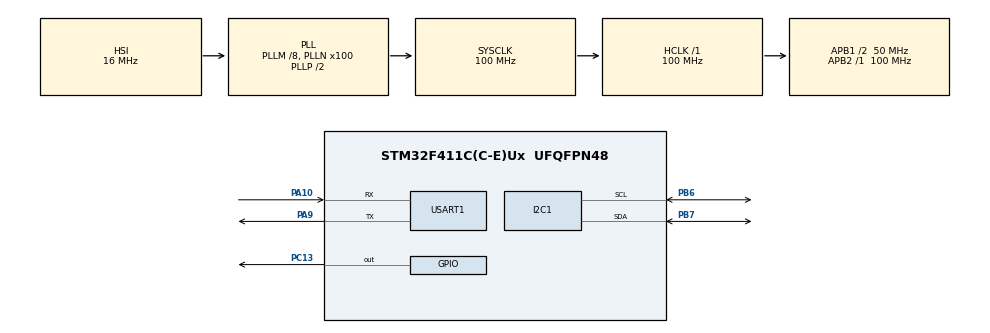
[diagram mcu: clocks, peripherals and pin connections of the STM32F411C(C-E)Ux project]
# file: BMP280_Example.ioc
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I2C1.I2C_Mode=I2C_Standard
Mcu.Family=STM32F4
Mcu.Name=STM32F411C(C-E)Ux
Mcu.Package=UFQFPN48
NVIC.PriorityGroup=NVIC_PRIORITYGROUP_4
PA10.Mode=Asynchronous
PA10.Signal=USART1_RX
PA13.Mode=Serial_Wire
PA13.Signal=SYS_JTMS-SWDIO
PA14.Mode=Serial_Wire
PA14.Signal=SYS_JTCK-SWCLK
PA9.Mode=Asynchronous
PA9.Signal=USART1_TX
PB6.Mode=I2C
PB6.Signal=I2C1_SCL
PB7.Mode=I2C
PB7.Signal=I2C1_SDA
PC13-ANTI_TAMP.Signal=GPIO_Output
PH0\ -\ OSC_IN.Mode=HSE-External-Oscillator
PH0\ -\ OSC_IN.Signal=RCC_OSC_IN
PH1\ -\ OSC_OUT.Mode=HSE-External-Oscillator
PH1\ -\ OSC_OUT.Signal=RCC_OSC_OUT
ProjectManager.HeapSize=0x200
ProjectManager.StackSize=0x400
ProjectManager.TargetToolchain=STM32CubeIDE
RCC.48MHZClocksFreq_Value=50000000
RCC.AHBFreq_Value=100000000
RCC.APB1CLKDivider=RCC_HCLK_DIV2
RCC.APB1Freq_Value=50000000
RCC.APB1TimFreq_Value=100000000
RCC.APB2Freq_Value=100000000
RCC.APB2TimFreq_Value=100000000
RCC.CortexFreq_Value=100000000
RCC.HCLKFreq_Value=100000000
RCC.HSE_VALUE=25000000
RCC.HSI_VALUE=16000000
RCC.LSE_VALUE=32768
RCC.PLLM=8
RCC.PLLN=100
RCC.SYSCLKFreq_VALUE=100000000
RCC.SYSCLKSource=RCC_SYSCLKSOURCE_PLLCLK
RCC.VCOOutputFreq_Value=200000000
USART1.VirtualMode=VM_ASYNC
board=custom

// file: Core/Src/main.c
/* USER CODE BEGIN Header */
/**
  ******************************************************************************
  * @file           : main.c
  * @brief          : Main program body
  ******************************************************************************
  * @attention
  *
  * Copyright (c) 2026 STMicroelectronics.
  * All rights reserved.
  *
  * This software is licensed under terms that can be found in the LICENSE file
  * in the root directory of this software component.
  * If no LICENSE file comes with this software, it is provided AS-IS.
  *
  ******************************************************************************
  */
/* USER CODE END Header */
#include "main.h"

/* USER CODE BEGIN Includes */
#include "BMP280.h"
#include "ANSII_Codes.h"
#include <stdio.h>
#include <stdlib.h>
/* USER CODE END Includes */

/* USER CODE BEGIN PD */
/* -- Parámetros de la batería de pruebas -- */
#define BMP_MUESTRAS        10U        /**< Lecturas seguidas del test de muestras */
#define BMP_SENTINEL        (-1000.0f) /**< Fuera de rango en los tres campos: delata campos que Get no escribió */

/* Rango de funcionamiento del sensor (datasheet) */
#define BMP_TEMP_MIN        (-40.0f)
#define BMP_TEMP_MAX        (85.0f)
#define BMP_PRES_MIN        (300.0f)   /**< [hPa] */
#define BMP_PRES_MAX        (1100.0f)  /**< [hPa] */
/* Altitud que da la fórmula de la librería en ese rango de presión (-698 m .. 9164 m) */
#define BMP_ALT_MIN         (-750.0f)  /**< [m] */
#define BMP_ALT_MAX         (9200.0f)  /**< [m] */

/* Con la placa quieta, variación máxima entre muestras (filtro IIR x16 activo).
 * Ajustar si falla sin tocarla; soplarle o tocarla con el dedo debe hacerlo fallar */
#define BMP_PRES_RUIDO      0.5f       /**< [hPa] */
#define BMP_TEMP_RUIDO      0.5f       /**< [°C] */
/* USER CODE END PD */

/* USER CODE BEGIN PM */
#define BMP_CHECK(x)  do { if ((x) != BMP280_OK) { Error_Handler(); } } while (0)
/* Para los tests de error: la llamada debe devolver exactamente el estado esperado */
#define BMP_EXPECT(x, st)  do { if ((x) != (st)) { Error_Handler(); } } while (0)

/* USER CODE END PM */

I2C_HandleTypeDef hi2c1;

UART_HandleTypeDef huart1;

/* USER CODE BEGIN PV */
BMP280_Status_t status;
/* USER CODE END PV */

void SystemClock_Config(void);
static void MX_GPIO_Init(void);
static void MX_I2C1_Init(void);
static void MX_USART1_UART_Init(void);
/* USER CODE BEGIN PFP */
static void BMP280_Centinela(BMP280_Data_t* d);
static void BMP280_Leer(BMP280_Data_t* d);
static void BMP280_CheckSinTocar(const BMP280_Data_t* d);
static void BMP280_PrintVal(const char* nombre, float v, const char* unidad);
static void BMP280_Print(const BMP280_Data_t* d);
static void BMP280_TestSuite(void);
static void BMP280_TestPreInit(void);
static void BMP280_TestLectura(void);
static void BMP280_TestMuestras(void);
static void BMP280_TestErrores(void);
static void BMP280_TestReInit(void);
/* USER CODE END PFP */

int main(void)
{

  /* MCU Configuration--------------------------------------------------------*/

  /* Reset of all peripherals, Initializes the Flash interface and the Systick. */
  HAL_Init();

  /* Configure the system clock */
  SystemClock_Config();

  /* Initialize all configured peripherals */
  MX_GPIO_Init();
  MX_I2C1_Init();
  MX_USART1_UART_Init();
  /* USER CODE BEGIN 2 */
  printf(CLEAR_SCREEN CURSOR_HOME COLOR_BOLD COLOR_CYAN "BMP280 TEST" COLOR_RESET "\r\n");
  BMP280_TestPreInit();

  status = BMP280_Init(&hi2c1);
  if(status != BMP280_OK)
  {
	  Error_Handler();
  }
  else
  {
	  HAL_GPIO_WritePin(GPIOC, GPIO_PIN_13, GPIO_PIN_RESET);
  }
  /* USER CODE END 2 */

  /* Infinite loop */
  /* USER CODE BEGIN WHILE */
  while (1)
  {
	  BMP280_TestSuite();
    /* USER CODE END WHILE */

  }
}

void SystemClock_Config(void)
{
  RCC_OscInitTypeDef RCC_OscInitStruct = {0};
  RCC_ClkInitTypeDef RCC_ClkInitStruct = {0};

  /** Configure the main internal regulator output voltage
  */
  __HAL_RCC_PWR_CLK_ENABLE();
  __HAL_PWR_VOLTAGESCALING_CONFIG(PWR_REGULATOR_VOLTAGE_SCALE1);

  /** Initializes the RCC Oscillators according to the specified parameters
  * in the RCC_OscInitTypeDef structure.
  */
  RCC_OscInitStruct.OscillatorType = RCC_OSCILLATORTYPE_HSI;
  RCC_OscInitStruct.HSIState = RCC_HSI_ON;
  RCC_OscInitStruct.HSICalibrationValue = RCC_HSICALIBRATION_DEFAULT;
  RCC_OscInitStruct.PLL.PLLState = RCC_PLL_ON;
  RCC_OscInitStruct.PLL.PLLSource = RCC_PLLSOURCE_HSI;
  RCC_OscInitStruct.PLL.PLLM = 8;
  RCC_OscInitStruct.PLL.PLLN = 100;
  RCC_OscInitStruct.PLL.PLLP = RCC_PLLP_DIV2;
  RCC_OscInitStruct.PLL.PLLQ = 4;
  if (HAL_RCC_OscConfig(&RCC_OscInitStruct) != HAL_OK)
  {
    Error_Handler();
  }

  /** Initializes the CPU, AHB and APB buses clocks
  */
  RCC_ClkInitStruct.ClockType = RCC_CLOCKTYPE_HCLK|RCC_CLOCKTYPE_SYSCLK
                              |RCC_CLOCKTYPE_PCLK1|RCC_CLOCKTYPE_PCLK2;
  RCC_ClkInitStruct.SYSCLKSource = RCC_SYSCLKSOURCE_PLLCLK;
  RCC_ClkInitStruct.AHBCLKDivider = RCC_SYSCLK_DIV1;
  RCC_ClkInitStruct.APB1CLKDivider = RCC_HCLK_DIV2;
  RCC_ClkInitStruct.APB2CLKDivider = RCC_HCLK_DIV1;

  if (HAL_RCC_ClockConfig(&RCC_ClkInitStruct, FLASH_LATENCY_3) != HAL_OK)
  {
    Error_Handler();
  }
}

static void MX_I2C1_Init(void)
{

  hi2c1.Instance = I2C1;
  hi2c1.Init.ClockSpeed = 100000;
  hi2c1.Init.DutyCycle = I2C_DUTYCYCLE_2;
  hi2c1.Init.OwnAddress1 = 0;
  hi2c1.Init.AddressingMode = I2C_ADDRESSINGMODE_7BIT;
  hi2c1.Init.DualAddressMode = I2C_DUALADDRESS_DISABLE;
  hi2c1.Init.OwnAddress2 = 0;
  hi2c1.Init.GeneralCallMode = I2C_GENERALCALL_DISABLE;
  hi2c1.Init.NoStretchMode = I2C_NOSTRETCH_DISABLE;
  if (HAL_I2C_Init(&hi2c1) != HAL_OK)
  {
    Error_Handler();
  }

}

static void MX_USART1_UART_Init(void)
{

  huart1.Instance = USART1;
  huart1.Init.BaudRate = 115200;
  huart1.Init.WordLength = UART_WORDLENGTH_8B;
  huart1.Init.StopBits = UART_STOPBITS_1;
  huart1.Init.Parity = UART_PARITY_NONE;
  huart1.Init.Mode = UART_MODE_TX_RX;
  huart1.Init.HwFlowCtl = UART_HWCONTROL_NONE;
  huart1.Init.OverSampling = UART_OVERSAMPLING_16;
  if (HAL_UART_Init(&huart1) != HAL_OK)
  {
    Error_Handler();
  }

}

static void MX_GPIO_Init(void)
{
  GPIO_InitTypeDef GPIO_InitStruct = {0};

  /* GPIO Ports Clock Enable */
  __HAL_RCC_GPIOC_CLK_ENABLE();
  __HAL_RCC_GPIOH_CLK_ENABLE();
  __HAL_RCC_GPIOA_CLK_ENABLE();
  __HAL_RCC_GPIOB_CLK_ENABLE();

  /*Configure GPIO pin Output Level */
  HAL_GPIO_WritePin(GPIOC, GPIO_PIN_13, GPIO_PIN_RESET);

  /*Configure GPIO pin : PC13 */
  GPIO_InitStruct.Pin = GPIO_PIN_13;
  GPIO_InitStruct.Mode = GPIO_MODE_OUTPUT_PP;
  GPIO_InitStruct.Pull = GPIO_NOPULL;
  GPIO_InitStruct.Speed = GPIO_SPEED_FREQ_LOW;
  HAL_GPIO_Init(GPIOC, &GPIO_InitStruct);

}

/* USER CODE BEGIN 4 */

/* printf por USART1 (PA9): syscalls.c redirige _write a esta función débil */
int __io_putchar(int ch)
{
	uint8_t c = (uint8_t)ch;
	HAL_UART_Transmit(&huart1, &c, 1, HAL_MAX_DELAY);
	return ch;
}

/* Rellena la muestra con el centinela para detectar campos que Get no escribió */
static void BMP280_Centinela(BMP280_Data_t* d)
{
	d->temperatura = d->presion = d->altitud = BMP_SENTINEL;
}

/* Lectura completa: Get debe ir bien y los tres campos quedar dentro del rango del
 * sensor (el centinela está fuera, así que también detecta campos sin escribir) */
static void BMP280_Leer(BMP280_Data_t* d)
{
	BMP280_Centinela(d);
	BMP_CHECK(BMP280_Get(d));

	if (d->temperatura < BMP_TEMP_MIN || d->temperatura > BMP_TEMP_MAX ||
		d->presion     < BMP_PRES_MIN || d->presion     > BMP_PRES_MAX ||
		d->altitud     < BMP_ALT_MIN  || d->altitud     > BMP_ALT_MAX)
	{
		Error_Handler();
	}
}

/* Tras un Get rechazado la muestra debe seguir intacta */
static void BMP280_CheckSinTocar(const BMP280_Data_t* d)
{
	if (d->temperatura != BMP_SENTINEL || d->presion != BMP_SENTINEL || d->altitud != BMP_SENTINEL)
	{
		Error_Handler();
	}
}

/* El proyecto no enlaza -u _printf_float: se imprime en centésimas con enteros */
static void BMP280_PrintVal(const char* nombre, float v, const char* unidad)
{
	const int32_t c = (int32_t)(v * 100.0f);
	printf("%s%s%ld.%02ld %s", nombre, (c < 0) ? "-" : "", labs(c) / 100, labs(c) % 100, unidad);
}

static void BMP280_Print(const BMP280_Data_t* d)
{
	BMP280_PrintVal("T=", d->temperatura, "C | ");
	BMP280_PrintVal("P=", d->presion, "hPa | ");
	BMP280_PrintVal("Alt=", d->altitud, "m\r\n");
}

static void BMP280_TestSuite(void)
{
	BMP280_TestLectura();
	HAL_Delay(2000);

	BMP280_TestMuestras();
	HAL_Delay(2000);

	BMP280_TestErrores();
	HAL_Delay(2000);

	BMP280_TestReInit();
	HAL_Delay(2000);
}

static void BMP280_TestPreInit(void)
{
	BMP280_Data_t d;

	/* -- Antes de Init: Get devuelve NOT_INITIALIZED sin tocar el bus ni la muestra.
	 *    El puntero NULL se comprueba antes que el estado: INVALID_PARAM -- */
	BMP280_Centinela(&d);
	BMP_EXPECT(BMP280_Get(&d), BMP280_NOT_INITIALIZED);
	BMP280_CheckSinTocar(&d);
	BMP_EXPECT(BMP280_Get(NULL), BMP280_INVALID_PARAM);
}

static void BMP280_TestLectura(void)
{
	BMP280_Data_t d;

	/* -- Lectura única: temperatura, presión y altitud dentro del rango del sensor -- */
	printf(COLOR_YELLOW "[Lectura]" COLOR_RESET "\r\n");
	BMP280_Leer(&d);
	BMP280_Print(&d);
}

static void BMP280_TestMuestras(void)
{
	BMP280_Data_t d;
	float pmin = 0.0f, pmax = 0.0f, tmin = 0.0f, tmax = 0.0f;

	/* -- Lecturas seguidas cada ~0.5 s con la placa QUIETA: ninguna debe fallar.
	 *    La presión debe variar (el sensor está en modo normal, midiendo) pero poco:
	 *    un salto mayor que el ruido delata bytes mal combinados o la compensación -- */
	printf(COLOR_YELLOW "[Muestras]" COLOR_RESET "\r\n");
	for (uint8_t i = 1; i <= BMP_MUESTRAS; i++)
	{
		BMP280_Leer(&d);
		if (i == 1U)
		{
			pmin = pmax = d.presion;
			tmin = tmax = d.temperatura;
		}
		pmin = fminf(pmin, d.presion);
		pmax = fmaxf(pmax, d.presion);
		tmin = fminf(tmin, d.temperatura);
		tmax = fmaxf(tmax, d.temperatura);

		printf("%2u/%u  ", i, BMP_MUESTRAS);
		BMP280_Print(&d);
		HAL_Delay(500);
	}

	BMP280_PrintVal("dP=", pmax - pmin, "hPa | ");
	BMP280_PrintVal("dT=", tmax - tmin, "C\r\n");
	if (pmax == pmin || pmax - pmin > BMP_PRES_RUIDO || tmax - tmin > BMP_TEMP_RUIDO)
	{
		Error_Handler();
	}
}

static void BMP280_TestErrores(void)
{
	BMP280_Data_t d;

	/* -- Puntero de salida NULL -- */
	printf(COLOR_YELLOW "[Errores]" COLOR_RESET "\r\n");
	BMP_EXPECT(BMP280_Get(NULL), BMP280_INVALID_PARAM);

	/* -- Init con handle NULL: se rechaza antes de tocar el estado, el driver sigue funcionando -- */
	BMP_EXPECT(BMP280_Init(NULL), BMP280_INVALID_PARAM);
	BMP280_Leer(&d);
	printf(COLOR_GREEN "Errores OK" COLOR_RESET "\r\n");
}

static void BMP280_TestReInit(void)
{
	BMP280_Data_t d;

	/* -- Re-Init: sobre un driver ya inicializado vuelve a detectar el sensor, hace soft
	 *    reset y reconfigura. Las lecturas siguientes deben seguir siendo válidas -- */
	printf(COLOR_YELLOW "[Re-Init]" COLOR_RESET "\r\n");
	BMP_CHECK(BMP280_Init(&hi2c1));
	BMP280_Leer(&d);
	BMP280_Print(&d);
	printf(COLOR_GREEN "Re-Init OK" COLOR_RESET "\r\n");
}

/* USER CODE END 4 */

void Error_Handler(void)
{
  /* USER CODE BEGIN Error_Handler_Debug */
  /* User can add his own implementation to report the HAL error return state */
  /* Si la UART aún no está inicializada, HAL_UART_Transmit devuelve BUSY sin bloquear */
  printf(COLOR_BOLD COLOR_RED "\r\nERROR: prueba fallida" COLOR_RESET "\r\n");
  while (1)
  {
	  HAL_GPIO_TogglePin(GPIOC, GPIO_PIN_13);
	  HAL_Delay(200);
  }
  /* USER CODE END Error_Handler_Debug */
}
